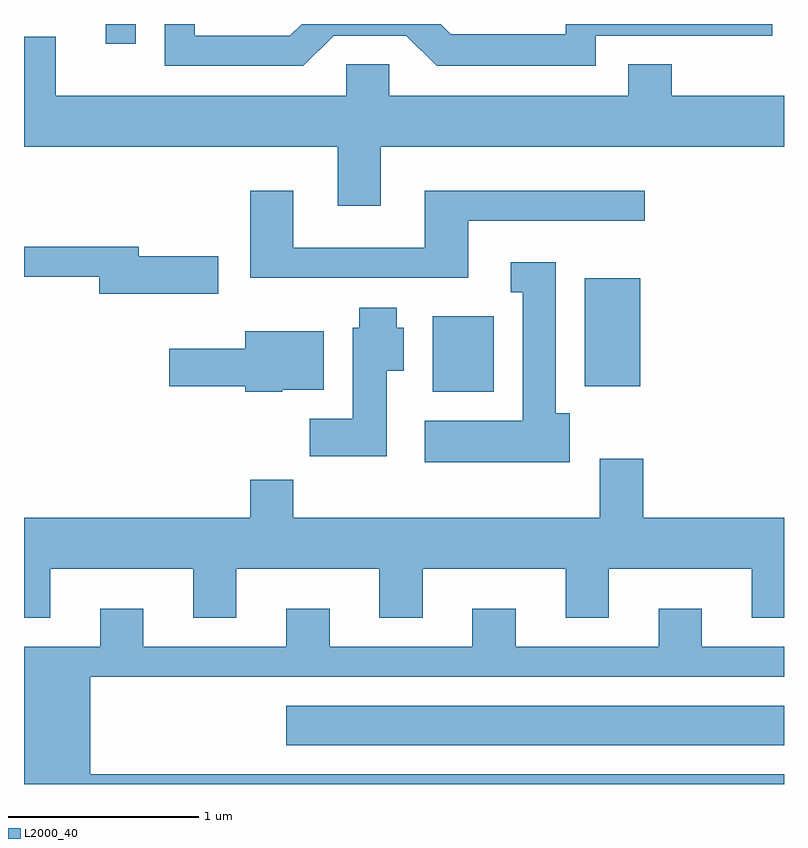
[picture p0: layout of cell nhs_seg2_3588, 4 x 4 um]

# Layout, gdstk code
import gdstk
lib = gdstk.Library(unit=1e-6, precision=1e-09)
def R(c, l, rs):  # rectangles x0, y0, x1, y1
    for r in rs: c.add(gdstk.rectangle(r[:2], r[2:], *l))
def P(c, l, *ps):  # polygons
    for p in ps: c.add(gdstk.Polygon(p, *l))
L2000_40 = (2000, 40)

nhs_seg2_3588 = lib.new_cell('nhs_seg2_3588')
R(nhs_seg2_3588, L2000_40, [(290.991,1094.006,293.611,1094.214), (291.761,1095.866,292.084,1096.264), (292.561,1095.896,292.854,1096.464), (290.041,1097.698,290.199,1097.802)])
P(nhs_seg2_3588, L2000_40, [(291.242,1097.741),(291.624,1097.741),(291.784,1097.581),(292.619,1097.581),(292.619,1097.741),(293.548,1097.741),(293.548,1097.802),(292.461,1097.802),(292.461,1097.749),(291.857,1097.749),(291.804,1097.802),(291.072,1097.802),(291.009,1097.739),(290.509,1097.739),(290.509,1097.802),(290.351,1097.802),(290.351,1097.581),(291.082,1097.581)],
  [(291.489,1097.156),(293.611,1097.156),(293.611,1097.424),(293.019,1097.424),(293.019,1097.589),(292.791,1097.589),(292.791,1097.424),(291.534,1097.424),(291.534,1097.589),(291.306,1097.589),(291.306,1097.424),(289.779,1097.424),(289.779,1097.734),(289.611,1097.734),(289.611,1097.156),(291.261,1097.156),(291.261,1096.846),(291.489,1096.846)],
  [(291.949,1096.766),(292.878,1096.766),(292.878,1096.924),(291.721,1096.924),(291.721,1096.624),(291.029,1096.624),(291.029,1096.924),(290.801,1096.924),(290.801,1096.466),(291.949,1096.466)],
  [(290.634,1096.579),(290.214,1096.579),(290.214,1096.629),(289.611,1096.629),(289.611,1096.471),(290.006,1096.471),(290.006,1096.381),(290.634,1096.381)],
  [(292.484,1095.754),(292.409,1095.754),(292.409,1096.549),(292.173,1096.549),(292.173,1096.391),(292.236,1096.391),(292.236,1095.714),(291.721,1095.714),(291.721,1095.496),(292.484,1095.496)],
  [(291.519,1095.976),(291.609,1095.976),(291.609,1096.204),(291.574,1096.204),(291.574,1096.309),(291.376,1096.309),(291.376,1096.204),(291.341,1096.204),(291.341,1095.724),(291.116,1095.724),(291.116,1095.526),(291.519,1095.526)],
  [(290.97,1095.876),(291.189,1095.876),(291.189,1096.184),(290.776,1096.184),(290.776,1096.094),(290.376,1096.094),(290.376,1095.896),(290.776,1095.896),(290.776,1095.866),(290.97,1095.866)],
  [(289.749,1094.936),(290.501,1094.936),(290.501,1094.676),(290.729,1094.676),(290.729,1094.936),(291.481,1094.936),(291.481,1094.676),(291.709,1094.676),(291.709,1094.936),(292.461,1094.936),(292.461,1094.676),(292.689,1094.676),(292.689,1094.936),(293.441,1094.936),(293.441,1094.676),(293.611,1094.676),(293.611,1095.204),(292.869,1095.204),(292.869,1095.514),(292.641,1095.514),(292.641,1095.204),(291.029,1095.204),(291.029,1095.404),(290.801,1095.404),(290.801,1095.204),(289.611,1095.204),(289.611,1094.676),(289.749,1094.676)],
  [(293.611,1093.854),(289.959,1093.854),(289.959,1094.366),(293.611,1094.366),(293.611,1094.524),(293.179,1094.524),(293.179,1094.724),(292.951,1094.724),(292.951,1094.524),(292.199,1094.524),(292.199,1094.724),(291.971,1094.724),(291.971,1094.524),(291.219,1094.524),(291.219,1094.724),(290.991,1094.724),(290.991,1094.524),(290.239,1094.524),(290.239,1094.724),(290.011,1094.724),(290.011,1094.524),(289.611,1094.524),(289.611,1093.802),(293.611,1093.802)])

lib.write_gds('nhs_seg2_3588.gds')
